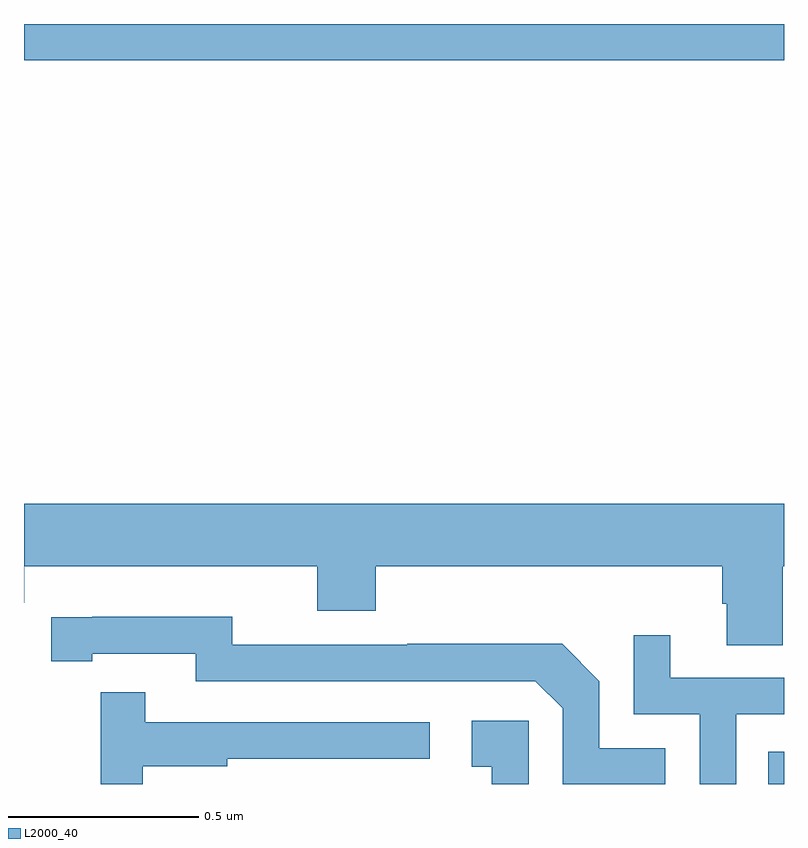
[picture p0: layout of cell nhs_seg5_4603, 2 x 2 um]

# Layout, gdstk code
import gdstk
lib = gdstk.Library(unit=1e-6, precision=1e-09)
def R(c, l, rs):  # rectangles x0, y0, x1, y1
    for r in rs: c.add(gdstk.rectangle(r[:2], r[2:], *l))
def P(c, l, *ps):  # polygons
    for p in ps: c.add(gdstk.Polygon(p, *l))
L2000_40 = (2000, 40)

nhs_seg5_4603 = lib.new_cell('nhs_seg5_4603')
R(nhs_seg5_4603, L2000_40, [(173.959,910.799,174,910.884), (172,912.704,174,912.799)])
P(nhs_seg5_4603, L2000_40, [(173.997,911.372),(174,911.372),(174,911.536),(172,911.536),(172,911.276),(172.001,911.276),(172.001,911.372),(172.772,911.372),(172.772,911.255),(172.925,911.255),(172.925,911.372),(173.837,911.372),(173.837,911.274),(173.849,911.274),(173.849,911.164),(173.997,911.164)],
  [(173.688,910.893),(173.514,910.893),(173.514,911.07),(173.416,911.168),(173.008,911.168),(173.008,911.166),(172.548,911.166),(172.548,911.239),(172.18,911.239),(172.18,911.238),(172.072,911.238),(172.072,911.122),(172.18,911.122),(172.18,911.142),(172.452,911.142),(172.452,911.07),(173.346,911.07),(173.418,910.998),(173.418,910.799),(173.688,910.799)],
  [(173.874,910.983),(174,910.983),(174,911.079),(173.701,911.079),(173.701,911.191),(173.604,911.191),(173.604,910.983),(173.778,910.983),(173.778,910.799),(173.874,910.799)],
  [(172.312,910.846),(172.535,910.846),(172.535,910.866),(173.068,910.866),(173.068,910.962),(172.319,910.962),(172.319,911.041),(172.202,911.041),(172.202,910.799),(172.312,910.799)],
  [(173.328,910.966),(173.178,910.966),(173.178,910.845),(173.231,910.845),(173.231,910.799),(173.328,910.799)])

lib.write_gds('nhs_seg5_4603.gds')
